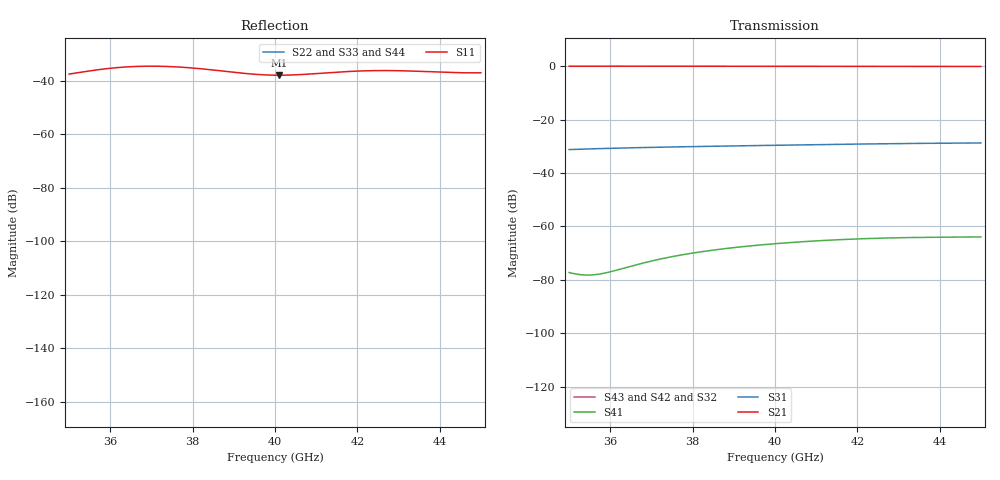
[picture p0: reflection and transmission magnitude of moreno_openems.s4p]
! Moreno cross-guide coupler, openEMS FDTD
! only column 1 (port 1 excited) and, by reciprocity, row 1 are simulated; other entries are zero
! S-parameters are normalised to each port's TE10 wave impedance (generalised
! S-matrix); 'R 50' below is only the placeholder the format requires.
! Reference planes: edges of the common a x a square.
# GHz S MA R 50
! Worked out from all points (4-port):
!   201 points, 35 GHz to 45 GHz, reference 50 ohm
!   strongest paths, dB at 35 GHz, 37.5 GHz, 40 GHz, 42.5 GHz, 45 GHz:
!     S21: 0.0, 0.0, 0.0, 0.0, -0.1
!     S31: -31.2, -30.2, -29.6, -29.0, -28.7
!     S41: -77.3, -71.3, -66.5, -64.4, -63.9
!     S43: -, -, -, -, -
!     S42: -, -, -, -, -
!     S32: -, -, -, -, -
!   lowest |S11| = -37.8 dB at 40.1 GHz (marker M1), VSWR 1.03, Z = 51.2 + j0.434 ohm
!   |S11| at or under -10 dB: start of sweep to end of sweep
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35  0.01353 -141.6  1.001 -159.6  0.02753 110.6  0.0001372 -101.6
    1.001 -159.6  0 0.0  0 0.0  0 0.0
    0.02753 110.6  0 0.0  0 0.0  0 0.0
    0.0001372 -101.6  0 0.0  0 0.0  0 0.0
35.7  0.0163 -115.2  1.004 -167.1  0.02866 103.1  0.0001272 -158.4
      1.004 -167.1  0 0.0  0 0.0  0 0.0
      0.02866 103.1  0 0.0  0 0.0  0 0.0
      0.0001272 -158.4  0 0.0  0 0.0  0 0.0
37.05  0.019 -80.9  1.002 179.0  0.03036 89.0  0.0002302 132.9
       1.002 179.0  0 0.0  0 0.0  0 0.0
       0.03036 89.0  0 0.0  0 0.0  0 0.0
       0.0002302 132.9  0 0.0  0 0.0  0 0.0
38.4  0.01641 -46.2  0.9984 165.8  0.0317 75.8  0.0003527 99.4
      0.9984 165.8  0 0.0  0 0.0  0 0.0
      0.0317 75.8  0 0.0  0 0.0  0 0.0
      0.0003527 99.4  0 0.0  0 0.0  0 0.0
40.1  0.01287 19.2  0.9982 149.9  0.03324 59.9  0.0004826 69.9
      0.9982 149.9  0 0.0  0 0.0  0 0.0
      0.03324 59.9  0 0.0  0 0.0  0 0.0
      0.0004826 69.9  0 0.0  0 0.0  0 0.0
42.75  0.01572 108.2  1.002 125.5  0.03548 35.6  0.0006093 33.3
       1.002 125.5  0 0.0  0 0.0  0 0.0
       0.03548 35.6  0 0.0  0 0.0  0 0.0
       0.0006093 33.3  0 0.0  0 0.0  0 0.0
45  0.01428 -179.2  0.9905 105.6  0.03663 15.4  0.0006379 10.3
    0.9905 105.6  0 0.0  0 0.0  0 0.0
    0.03663 15.4  0 0.0  0 0.0  0 0.0
    0.0006379 10.3  0 0.0  0 0.0  0 0.0
